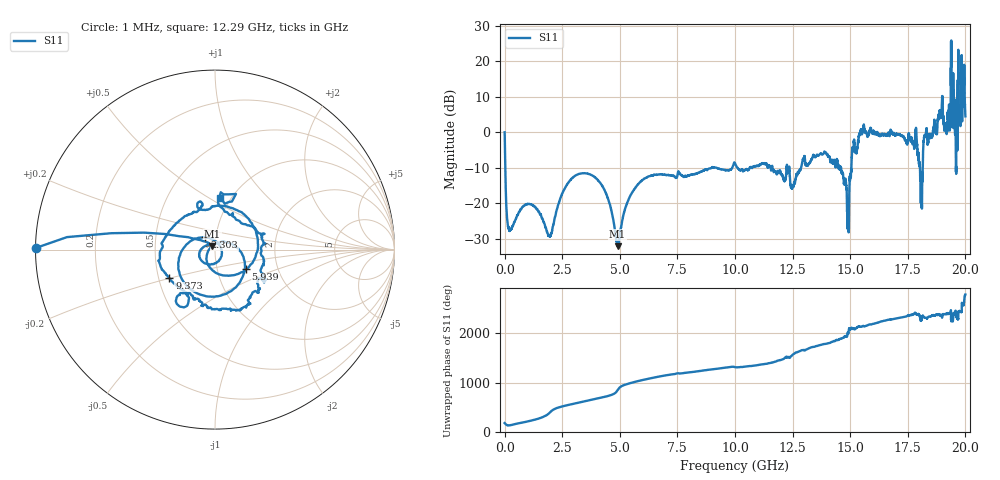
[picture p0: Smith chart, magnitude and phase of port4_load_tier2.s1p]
! Created with skrf 1.8.0 (http://scikit-rf.org).
# GHz S RI R 50.0
!freq ReS11 ImS11
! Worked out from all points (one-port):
!   10001 points, 1 MHz to 20 GHz, reference 50 ohm
!   lowest |S11| = -32.2 dB at 4.905 GHz (marker M1), VSWR 1.05, Z = 48.5 + j1.9 ohm
!   |S11| at or under -10 dB: 30.69 MHz to 8.989 GHz (8.958 GHz wide, 199 % of centre); 9.193 GHz to 9.885 GHz (692.4 MHz wide, 7.26 % of centre); 11.62 GHz to 12.23 GHz (612.5 MHz wide, 5.14 % of centre) (the widest 3 of 26)
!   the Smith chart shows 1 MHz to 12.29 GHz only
!   S11 on the Smith chart (normalised r, x): 1 MHz: 0.00, +0.01; 2.303 GHz: 0.89, +0.12; 5.939 GHz: 1.38, -0.32; 9.373 GHz: 0.57, -0.20; 12.29 GHz: 0.91, +0.60
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0.001  -0.9958 0.01
0.2289886  -0.0285 0.0292
2.302885  -0.0559 0.0691
2.500875  -0.1252 0.0526
3.936803  0.1381 -0.1828
4.904755  -0.0151 0.0195
5.00075  -0.035 -0.00209
5.938703  0.1732 -0.1099
7.500625  -0.0896 0.2281
9.372531  -0.2542 -0.1588
10.0005  -0.2158 -0.2953
12.29439  0.0453 0.3005
12.50038  -0.0988 0.1376
15.00025  0.0501 -0.2139
15.63622  1.026 -0.31
16.44418  -0.0609 0.8988
17.50013  -0.6732 -0.32
17.83611  -0.3216 -0.9569
18.29609  -0.9757 0.3685
18.95005  -1.489 -0.8985
19.27604  -0.7862 -1.45
19.37403  0.836 -4.46
19.47803  -4.432 -2.917
19.54802  -0.345 -0.905
19.74201  0.7759 -1.563
19.82601  0.3473 -2.179
19.944  -2.353 4.051
20  -0.0228 -1.672
